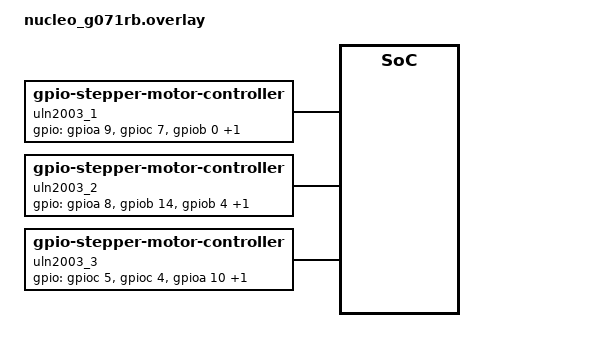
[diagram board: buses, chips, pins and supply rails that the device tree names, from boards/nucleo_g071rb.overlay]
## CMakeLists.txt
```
# SPDX-FileCopyrightText: Copyright (c) 2023 Carl Zeiss Meditec AG
# SPDX-License-Identifier: Apache-2.0

cmake_minimum_required(VERSION 3.20.0)
find_package(Zephyr REQUIRED HINTS $ENV{ZEPHYR_BASE})
project(gpio_stepper_motor_controller_ping_pong)

FILE(GLOB app_sources src/*.c)
target_sources(app PRIVATE ${app_sources})
```

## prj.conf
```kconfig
# SPDX-FileCopyrightText: Copyright (c) 2023 Carl Zeiss Meditec AG
# SPDX-License-Identifier: Apache-2.0


CONFIG_LOG=y
CONFIG_GPIO=y
CONFIG_LED=y
CONFIG_MOTOR=y
CONFIG_GPIO_STEPPER_MOTOR_CONTROLLER=y

CONFIG_CBPRINTF_FP_SUPPORT=y
CONFIG_EXCEPTION_STACK_TRACE=y
CONFIG_DEBUG_INFO=y
# CONFIG_NO_OPTIMIZATIONS=y
CONFIG_COMPILER_OPT="-g3"
```

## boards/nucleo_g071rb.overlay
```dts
/ {
	uln2003_1 {
		compatible = "gpio-stepper-motor-controller";
		gpios = <&gpioa 9 GPIO_ACTIVE_HIGH>,
				<&gpioc 7 GPIO_ACTIVE_HIGH>,
				<&gpiob 0 GPIO_ACTIVE_HIGH>,
				<&gpioa 7 GPIO_ACTIVE_HIGH>;

		motor_x: motor_x{
			gear-ratio = "64";
			steps-per-revolution = <32>;
		};
	};

		uln2003_2 {
        	compatible = "gpio-stepper-motor-controller";
        	gpios = <&gpioa 8 GPIO_ACTIVE_HIGH>,
        			<&gpiob 14 GPIO_ACTIVE_HIGH> ,
        		 	<&gpiob 4 GPIO_ACTIVE_HIGH>,
        		 	<&gpiob 5 GPIO_ACTIVE_HIGH>;

        	motor_y: motor_y{
        		status = "okay";
        		gear-ratio = "64";
        		steps-per-revolution = <32>;
        	};
        };

        		uln2003_3 {
                	compatible = "gpio-stepper-motor-controller";
                	gpios = <&gpioc 5 GPIO_ACTIVE_HIGH>,
                			<&gpioc 4 GPIO_ACTIVE_HIGH> ,
                		 	<&gpioa 10 GPIO_ACTIVE_HIGH>,
                		 	<&gpiob 3 GPIO_ACTIVE_HIGH>;

                	motor_z: motor_z{
                		status = "okay";
                		gear-ratio = "64";
                		steps-per-revolution = <32>;
                	};
                };


};
```

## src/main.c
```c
/*
 * SPDX-FileCopyrightText: Copyright (c) 2024 Carl Zeiss Meditec AG
 * SPDX-License-Identifier: Apache-2.0
 */

#include "zephyr/drivers/motor.h"

const struct device *motor_x = DEVICE_DT_GET(DT_NODELABEL(motor_x));
const struct device *motor_y = DEVICE_DT_GET(DT_NODELABEL(motor_y));
const struct device *motor_z = DEVICE_DT_GET(DT_NODELABEL(motor_z));

static void motor_x_thread(void)
{
	for (;;) {

		motor_set_angle(motor_x, 225);
		k_sleep(K_SECONDS(1));
		motor_rotate(motor_x, -450);
		k_sleep(K_SECONDS(1));
	}
}

static void motor_y_thread(void)
{
	for (;;) {
		motor_set_angle(motor_y, 225);
		k_sleep(K_SECONDS(1));
		motor_rotate(motor_y, -450);
		k_sleep(K_SECONDS(1));
	}
}

static void motor_z_thread(void)
{
	for (;;) {
		motor_set_angle(motor_z, 225);
		k_sleep(K_SECONDS(1));
		motor_rotate(motor_z, -450);
		k_sleep(K_SECONDS(1));
	}
}

K_THREAD_DEFINE(motor_x_thread_id, 1024 * 2, motor_x_thread, NULL, NULL, NULL, 5, 0, 0);
K_THREAD_DEFINE(motor_y_thread_id, 1024 * 2, motor_y_thread, NULL, NULL, NULL, 5, 0, 0);

K_THREAD_DEFINE(motor_z_thread_id, 1024 * 2, motor_z_thread, NULL, NULL, NULL, 5, 0, 0);
```
